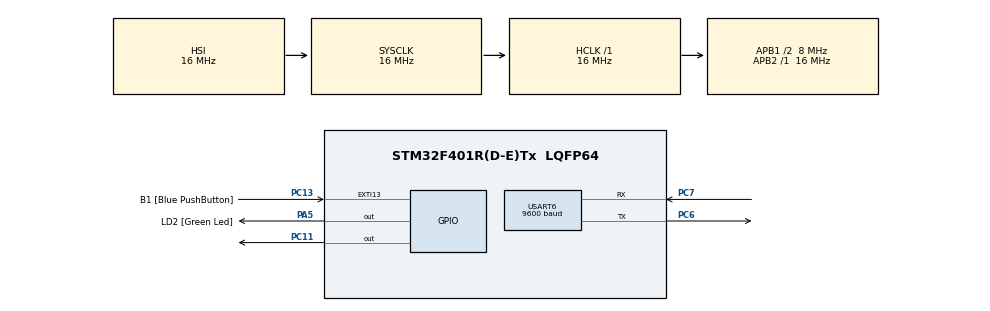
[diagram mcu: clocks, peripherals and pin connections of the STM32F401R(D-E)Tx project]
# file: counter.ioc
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Mcu.Family=STM32F4
Mcu.Name=STM32F401R(D-E)Tx
Mcu.Package=LQFP64
NVIC.PriorityGroup=NVIC_PRIORITYGROUP_0
NVIC.TIM3_IRQn=true\:0\:0\:false\:false\:true\:true\:true\:true
PA13.GPIO_Label=TMS
PA13.Mode=Serial_Wire
PA13.Signal=SYS_JTMS-SWDIO
PA14.GPIO_Label=TCK
PA14.Mode=Serial_Wire
PA14.Signal=SYS_JTCK-SWCLK
PA2.GPIO_Label=USART_TX
PA2.GPIO_Mode=GPIO_MODE_AF_PP
PA2.GPIO_PuPd=GPIO_NOPULL
PA2.GPIO_Speed=GPIO_SPEED_FREQ_LOW
PA2.Signal=USART2_TX
PA3.GPIO_Label=USART_RX
PA3.GPIO_Mode=GPIO_MODE_AF_PP
PA3.GPIO_PuPd=GPIO_NOPULL
PA3.GPIO_Speed=GPIO_SPEED_FREQ_LOW
PA3.Signal=USART2_RX
PA5.GPIO_Label=LD2 [Green Led]
PA5.GPIO_Mode=GPIO_MODE_OUTPUT_PP
PA5.GPIO_PuPd=GPIO_NOPULL
PA5.GPIO_Speed=GPIO_SPEED_FREQ_LOW
PA5.Signal=GPIO_Output
PB3.GPIO_Label=SWO
PB3.Signal=SYS_JTDO-SWO
PC11.Signal=GPIO_Output
PC13-ANTI_TAMP.GPIO_Label=B1 [Blue PushButton]
PC13-ANTI_TAMP.GPIO_ModeDefaultEXTI=GPIO_MODE_IT_FALLING
PC13-ANTI_TAMP.GPIO_PuPd=GPIO_NOPULL
PC13-ANTI_TAMP.Signal=GPXTI13
PC14-OSC32_IN.Mode=LSE-External-Oscillator
PC14-OSC32_IN.Signal=RCC_OSC32_IN
PC15-OSC32_OUT.Mode=LSE-External-Oscillator
PC15-OSC32_OUT.Signal=RCC_OSC32_OUT
PC6.Mode=Asynchronous
PC6.Signal=USART6_TX
PC7.Mode=Asynchronous
PC7.Signal=USART6_RX
PH0\ -\ OSC_IN.Mode=HSE-External-Clock-Source
PH0\ -\ OSC_IN.Signal=RCC_OSC_IN
PH1\ -\ OSC_OUT.Mode=HSE-External-Clock-Source
PH1\ -\ OSC_OUT.Signal=RCC_OSC_OUT
ProjectManager.HeapSize=0x200
ProjectManager.StackSize=0x400
ProjectManager.TargetToolchain=MDK-ARM V5.32
RCC.48MHZClocksFreq_Value=48000000
RCC.AHBFreq_Value=16000000
RCC.APB1CLKDivider=RCC_HCLK_DIV2
RCC.APB1Freq_Value=8000000
RCC.APB1TimFreq_Value=16000000
RCC.APB2Freq_Value=16000000
RCC.APB2TimFreq_Value=16000000
RCC.CortexFreq_Value=16000000
RCC.HCLKFreq_Value=16000000
RCC.HSE_VALUE=8000000
RCC.HSI_VALUE=16000000
RCC.PLLN=336
RCC.PLLP=RCC_PLLP_DIV4
RCC.PLLQ=7
RCC.SYSCLKFreq_VALUE=16000000
RCC.VCOOutputFreq_Value=336000000
TIM3.Period=999
TIM3.Prescaler=15999
TIM3.TIM_MasterSlaveMode=TIM_MASTERSLAVEMODE_DISABLE
USART6.BaudRate=9600
USART6.VirtualMode=VM_ASYNC
VP_TIM3_VS_ClockSourceINT.Mode=Internal
board=NUCLEO-F401RE

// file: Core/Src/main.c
/* USER CODE BEGIN Header */
/**
  ******************************************************************************
  * @file           : main.c
  * @brief          : Main program body
  ******************************************************************************
  * @attention
  *
  * Copyright (c) 2023 STMicroelectronics.
  * All rights reserved.
  *
  * This software is licensed under terms that can be found in the LICENSE file
  * in the root directory of this software component.
  * If no LICENSE file comes with this software, it is provided AS-IS.
  *
  ******************************************************************************
  */
/* USER CODE END Header */
#include "main.h"

/* USER CODE BEGIN Includes */
#include "stdio.h"
/* USER CODE END Includes */

 TIM_HandleTypeDef htim3;

UART_HandleTypeDef huart6;

/* USER CODE BEGIN PV */
	int sec=0;
	int min=0;
	char TX_buffer[4];
/* USER CODE END PV */

void SystemClock_Config(void);
static void MX_GPIO_Init(void);
static void MX_TIM3_Init(void);
static void MX_USART6_UART_Init(void);
/* USER CODE BEGIN PFP */
void HAL_TIM_PeriodElapsedCallback(TIM_HandleTypeDef *htim){
		sec= sec+1;
		if (sec>59) {
		sec= 0;
		min= min+1;
		}
		//sprintf(TX_buffer,"%i\r\n",Second);
		TX_buffer[0]=(char)sec%10;
		TX_buffer[1]=(char)sec/10;
		TX_buffer[2]=(char)min%10;
		TX_buffer[3]=(char)min/10;
		HAL_UART_Transmit(&huart6,TX_buffer,sizeof(TX_buffer), HAL_MAX_DELAY);
}
/* USER CODE END PFP */

int main(void)
{

  /* MCU Configuration--------------------------------------------------------*/

  /* Reset of all peripherals, Initializes the Flash interface and the Systick. */
  HAL_Init();

  /* Configure the system clock */
  SystemClock_Config();

  /* Initialize all configured peripherals */
  MX_GPIO_Init();
  MX_TIM3_Init();
  MX_USART6_UART_Init();
  /* USER CODE BEGIN 2 */
	HAL_TIM_Base_Start_IT(&htim3);
  /* USER CODE END 2 */

  /* Infinite loop */
  while (1)
  {

  }
}

void SystemClock_Config(void)
{
  RCC_OscInitTypeDef RCC_OscInitStruct = {0};
  RCC_ClkInitTypeDef RCC_ClkInitStruct = {0};

  /** Configure the main internal regulator output voltage
  */
  __HAL_RCC_PWR_CLK_ENABLE();
  __HAL_PWR_VOLTAGESCALING_CONFIG(PWR_REGULATOR_VOLTAGE_SCALE2);

  /** Initializes the RCC Oscillators according to the specified parameters
  * in the RCC_OscInitTypeDef structure.
  */
  RCC_OscInitStruct.OscillatorType = RCC_OSCILLATORTYPE_HSI;
  RCC_OscInitStruct.HSIState = RCC_HSI_ON;
  RCC_OscInitStruct.HSICalibrationValue = RCC_HSICALIBRATION_DEFAULT;
  RCC_OscInitStruct.PLL.PLLState = RCC_PLL_NONE;
  if (HAL_RCC_OscConfig(&RCC_OscInitStruct) != HAL_OK)
  {
    Error_Handler();
  }

  /** Initializes the CPU, AHB and APB buses clocks
  */
  RCC_ClkInitStruct.ClockType = RCC_CLOCKTYPE_HCLK|RCC_CLOCKTYPE_SYSCLK
                              |RCC_CLOCKTYPE_PCLK1|RCC_CLOCKTYPE_PCLK2;
  RCC_ClkInitStruct.SYSCLKSource = RCC_SYSCLKSOURCE_HSI;
  RCC_ClkInitStruct.AHBCLKDivider = RCC_SYSCLK_DIV1;
  RCC_ClkInitStruct.APB1CLKDivider = RCC_HCLK_DIV2;
  RCC_ClkInitStruct.APB2CLKDivider = RCC_HCLK_DIV1;

  if (HAL_RCC_ClockConfig(&RCC_ClkInitStruct, FLASH_LATENCY_0) != HAL_OK)
  {
    Error_Handler();
  }
}

static void MX_TIM3_Init(void)
{

  TIM_ClockConfigTypeDef sClockSourceConfig = {0};
  TIM_MasterConfigTypeDef sMasterConfig = {0};

  htim3.Instance = TIM3;
  htim3.Init.Prescaler = 15999;
  htim3.Init.CounterMode = TIM_COUNTERMODE_UP;
  htim3.Init.Period = 999;
  htim3.Init.ClockDivision = TIM_CLOCKDIVISION_DIV1;
  htim3.Init.AutoReloadPreload = TIM_AUTORELOAD_PRELOAD_DISABLE;
  if (HAL_TIM_Base_Init(&htim3) != HAL_OK)
  {
    Error_Handler();
  }
  sClockSourceConfig.ClockSource = TIM_CLOCKSOURCE_INTERNAL;
  if (HAL_TIM_ConfigClockSource(&htim3, &sClockSourceConfig) != HAL_OK)
  {
    Error_Handler();
  }
  sMasterConfig.MasterOutputTrigger = TIM_TRGO_RESET;
  sMasterConfig.MasterSlaveMode = TIM_MASTERSLAVEMODE_DISABLE;
  if (HAL_TIMEx_MasterConfigSynchronization(&htim3, &sMasterConfig) != HAL_OK)
  {
    Error_Handler();
  }

}

static void MX_USART6_UART_Init(void)
{

  huart6.Instance = USART6;
  huart6.Init.BaudRate = 9600;
  huart6.Init.WordLength = UART_WORDLENGTH_8B;
  huart6.Init.StopBits = UART_STOPBITS_1;
  huart6.Init.Parity = UART_PARITY_NONE;
  huart6.Init.Mode = UART_MODE_TX_RX;
  huart6.Init.HwFlowCtl = UART_HWCONTROL_NONE;
  huart6.Init.OverSampling = UART_OVERSAMPLING_16;
  if (HAL_UART_Init(&huart6) != HAL_OK)
  {
    Error_Handler();
  }

}

static void MX_GPIO_Init(void)
{
  GPIO_InitTypeDef GPIO_InitStruct = {0};

  /* GPIO Ports Clock Enable */
  __HAL_RCC_GPIOC_CLK_ENABLE();
  __HAL_RCC_GPIOH_CLK_ENABLE();
  __HAL_RCC_GPIOA_CLK_ENABLE();
  __HAL_RCC_GPIOB_CLK_ENABLE();

  /*Configure GPIO pin Output Level */
  HAL_GPIO_WritePin(LD2_GPIO_Port, LD2_Pin, GPIO_PIN_RESET);

  /*Configure GPIO pin Output Level */
  HAL_GPIO_WritePin(GPIOC, GPIO_PIN_11, GPIO_PIN_RESET);

  /*Configure GPIO pin : B1_Pin */
  GPIO_InitStruct.Pin = B1_Pin;
  GPIO_InitStruct.Mode = GPIO_MODE_IT_FALLING;
  GPIO_InitStruct.Pull = GPIO_NOPULL;
  HAL_GPIO_Init(B1_GPIO_Port, &GPIO_InitStruct);

  /*Configure GPIO pins : USART_TX_Pin USART_RX_Pin */
  GPIO_InitStruct.Pin = USART_TX_Pin|USART_RX_Pin;
  GPIO_InitStruct.Mode = GPIO_MODE_AF_PP;
  GPIO_InitStruct.Pull = GPIO_NOPULL;
  GPIO_InitStruct.Speed = GPIO_SPEED_FREQ_LOW;
  GPIO_InitStruct.Alternate = GPIO_AF7_USART2;
  HAL_GPIO_Init(GPIOA, &GPIO_InitStruct);

  /*Configure GPIO pin : LD2_Pin */
  GPIO_InitStruct.Pin = LD2_Pin;
  GPIO_InitStruct.Mode = GPIO_MODE_OUTPUT_PP;
  GPIO_InitStruct.Pull = GPIO_NOPULL;
  GPIO_InitStruct.Speed = GPIO_SPEED_FREQ_LOW;
  HAL_GPIO_Init(LD2_GPIO_Port, &GPIO_InitStruct);

  /*Configure GPIO pin : PC11 */
  GPIO_InitStruct.Pin = GPIO_PIN_11;
  GPIO_InitStruct.Mode = GPIO_MODE_OUTPUT_PP;
  GPIO_InitStruct.Pull = GPIO_NOPULL;
  GPIO_InitStruct.Speed = GPIO_SPEED_FREQ_LOW;
  HAL_GPIO_Init(GPIOC, &GPIO_InitStruct);

}

void Error_Handler(void)
{
  __disable_irq();
  while (1)
  {
  }
}
